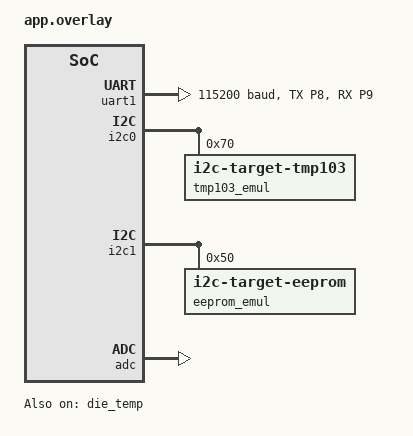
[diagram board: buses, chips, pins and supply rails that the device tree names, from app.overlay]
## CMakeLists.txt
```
# SPDX-License-Identifier: Apache-2.0

cmake_minimum_required(VERSION 3.20.0)

find_package(Zephyr REQUIRED HINTS $ENV{ZEPHYR_BASE})
project(coproc_spike)

target_sources(app PRIVATE src/main.c src/la_pio.c src/link.c)
```

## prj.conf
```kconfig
# DATA ×4 v2 co-processor spike (README.md): build only, no hardware yet

CONFIG_LOG=y
CONFIG_SHELL=y

# USB: 4 CDC-ACM (shell + 3 consoles) and the node's vendor bulk link
CONFIG_USB_DEVICE_STACK_NEXT=y
CONFIG_USBD_LOG_LEVEL_WRN=y
# The shell runs on a CDC-ACM port: its driver may not log to itself
CONFIG_USBD_CDC_ACM_LOG_LEVEL_OFF=y
CONFIG_UDC_BUF_POOL_SIZE=4096
CONFIG_SERIAL=y
CONFIG_UART_INTERRUPT_DRIVEN=y
CONFIG_UART_LINE_CTRL=y
CONFIG_UART_USE_RUNTIME_CONFIGURE=y

# Emulated I2C devices: the TMP103 and EEPROM targets turn on from the devicetree
CONFIG_I2C=y
CONFIG_I2C_TARGET=y
CONFIG_SENSOR=y
CONFIG_ADC=y
# The TMP103 target reads the die temperature sensor, which starts at 90:
# upstream's default (60) fails the init-order check (README.md)
CONFIG_I2C_TARGET_INIT_PRIORITY=91

# Capture: PIO + DMA
CONFIG_DMA=y
```

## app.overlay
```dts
/*
 * DATA ×4 v2 co-processor spike on a Pico 2 (README.md).  Pins follow the
 * v2 research: the eight buses are GPIO2-9 (CH1-8).
 *
 *   GPIO2-9   sampled by the PIO capture (all eight)
 *   GPIO4/5   I2C0 target: an emulated TMP103 at 0x70 (CH3/CH4)
 *   GPIO6/7   I2C1 target: an emulated 256-byte EEPROM at 0x50 (CH5/CH6)
 *   GPIO8/9   UART1, bridged to the "con1" CDC-ACM port (CH7/CH8)
 *
 * SPDX-License-Identifier: Apache-2.0
 */

/ {
	chosen {
		zephyr,shell-uart = &cdc_acm_shell;
	};

	/* A DUT console: UART1 <-> USB, line coding passed through */
	uart-bridge-con1 {
		compatible = "zephyr,uart-bridge";
		peers = <&cdc_acm_con1 &uart1>;
	};
};

&zephyr_udc0 {
	cdc_acm_shell: cdc_acm_shell {
		compatible = "zephyr,cdc-acm-uart";
		label = "coproc shell";
	};

	cdc_acm_con1: cdc_acm_con1 {
		compatible = "zephyr,cdc-acm-uart";
		label = "coproc con1";
	};

	/* con2/con3: for PIO UARTs, which have no interrupt API yet (README.md) */
	cdc_acm_con2: cdc_acm_con2 {
		compatible = "zephyr,cdc-acm-uart";
		label = "coproc con2";
	};

	cdc_acm_con3: cdc_acm_con3 {
		compatible = "zephyr,cdc-acm-uart";
		label = "coproc con3";
	};
};

&pinctrl {
	uart1_bus: uart1_bus {
		group1 {
			pinmux = <UART1_TX_P8>;
		};

		group2 {
			pinmux = <UART1_RX_P9>;
			input-enable;
		};
	};
};

&uart1 {
	current-speed = <115200>;
	pinctrl-0 = <&uart1_bus>;
	pinctrl-names = "default";
	status = "okay";
};

/* The board's defaults already put I2C0 on GPIO4/5 and I2C1 on GPIO6/7 */
&i2c0 {
	tmp103_emul: tmp103@70 {
		compatible = "zephyr,i2c-target-tmp103";
		reg = <0x70>;
		sensor = <&die_temp>;
	};
};

&i2c1 {
	eeprom_emul: eeprom@50 {
		compatible = "zephyr,i2c-target-eeprom";
		reg = <0x50>;
		size = <256>;
	};
};

&adc {
	status = "okay";
};

&die_temp {
	status = "okay";
};

/* Own labels: the pico-sdk headers define pio0 (and friends) as macros */
coproc_pio: &pio0 {
	status = "okay";
};

coproc_dma: &dma {
	status = "okay";
};
```

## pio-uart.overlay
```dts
/*
 * con2 on a PIO UART (TX GPIO2, RX GPIO3: CH1/CH2), bridged like con1.
 * Needs Zephyr PR #118562 (interrupt-driven PIO UART): without it the
 * driver only polls and the bridge never sees a byte (README.md).
 *
 *   west build ... -- -DEXTRA_DTC_OVERLAY_FILE=pio-uart.overlay
 *
 * SPDX-License-Identifier: Apache-2.0
 */

/ {
	uart-bridge-con2 {
		compatible = "zephyr,uart-bridge";
		peers = <&cdc_acm_con2 &pio1_uart0>;
	};
};

&pinctrl {
	pio1_uart0_bus: pio1_uart0_bus {
		rx_pins {
			pinmux = <PIO1_P3>;
			input-enable;
		};

		tx_pins {
			pinmux = <PIO1_P2>;
		};
	};
};

&pio1 {
	status = "okay";

	pio1_uart0: uart0 {
		compatible = "raspberrypi,pico-uart-pio";
		current-speed = <115200>;
		pinctrl-0 = <&pio1_uart0_bus>;
		pinctrl-names = "default";
		status = "okay";
	};
};
```

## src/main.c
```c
/*
 * DATA ×4 v2 co-processor spike (README.md): what Zephyr gives an RP2350
 * today for the co-processor's jobs, built for a Pico 2, not yet run.
 *
 *   USB      4 CDC-ACM (shell, con1 bridged to UART1, con2, con3) and the
 *            node's vendor bulk link (link.c)
 *   I2C      two emulated devices, devicetree only (app.overlay)
 *   capture  8 channels by PIO + DMA (la_pio.c), on the shell:
 *
 *   la cap <rate_hz> <samples> [<trigger pin> rise|fall [timeout_ms]]
 *   la dump [offset] [count]
 *
 * SPDX-License-Identifier: Apache-2.0
 */

#include <stdlib.h>
#include <string.h>

#include <zephyr/kernel.h>
#include <zephyr/logging/log.h>
#include <zephyr/shell/shell.h>
#include <zephyr/usb/usbd.h>

#include "la_pio.h"

LOG_MODULE_REGISTER(coproc, LOG_LEVEL_INF);

/* The first bus pin: CH1 = GPIO2 */
#define LA_FIRST_PIN 2

/* Zephyr's test VID/PID: a spike only */
USBD_DEVICE_DEFINE(coproc_usbd, DEVICE_DT_GET(DT_NODELABEL(zephyr_udc0)), 0x2fe3, 0x0005);
USBD_DESC_LANG_DEFINE(coproc_lang);
USBD_DESC_MANUFACTURER_DEFINE(coproc_mfr, "hw-testing-rack");
USBD_DESC_PRODUCT_DEFINE(coproc_product, "DATA x4 co-processor spike");
USBD_DESC_CONFIG_DEFINE(coproc_fs_cfg_desc, "FS Configuration");
USBD_CONFIGURATION_DEFINE(coproc_fs_config, 0, 100, &coproc_fs_cfg_desc);

static int coproc_usb_init(void)
{
	int err;

	err = usbd_add_descriptor(&coproc_usbd, &coproc_lang);
	err = err ?: usbd_add_descriptor(&coproc_usbd, &coproc_mfr);
	err = err ?: usbd_add_descriptor(&coproc_usbd, &coproc_product);
	err = err ?: usbd_add_configuration(&coproc_usbd, USBD_SPEED_FS, &coproc_fs_config);
	err = err ?: usbd_register_all_classes(&coproc_usbd, USBD_SPEED_FS, 1, NULL);
	if (err) {
		return err;
	}

	/* CDC-ACM uses interface association descriptors */
	usbd_device_set_code_triple(&coproc_usbd, USBD_SPEED_FS, USB_BCC_MISCELLANEOUS, 0x02, 0x01);

	err = usbd_init(&coproc_usbd);

	return err ?: usbd_enable(&coproc_usbd);
}

static int cmd_la_cap(const struct shell *sh, size_t argc, char **argv)
{
	struct la_params p = {
		.first_pin = LA_FIRST_PIN,
		.rate_hz = strtoul(argv[1], NULL, 0),
		.samples = strtoul(argv[2], NULL, 0),
		.trigger_pin = -1,
	};
	uint32_t trigger_ms = 5000;
	uint32_t rate;
	int64_t t0;
	int ret;

	if (argc >= 4) {
		p.trigger_pin = strtol(argv[3], NULL, 0);
		p.rising = argc < 5 || strcmp(argv[4], "fall") != 0;
	}
	if (argc >= 6) {
		trigger_ms = strtoul(argv[5], NULL, 0);
	}
	p.timeout = K_MSEC(trigger_ms + (uint64_t)p.samples * 1000U / MAX(p.rate_hz, 1U) + 10U);

	t0 = k_uptime_get();
	ret = la_capture(&p, &rate);
	if (ret < 0) {
		shell_error(sh, "capture failed: %d", ret);
		return ret;
	}
	shell_print(sh, "%u samples at %u Hz on GPIO%u-%u in %lld ms", p.samples, rate,
		    p.first_pin, p.first_pin + LA_CHANNELS - 1, k_uptime_get() - t0);

	return 0;
}

static int cmd_la_dump(const struct shell *sh, size_t argc, char **argv)
{
	const size_t offset = argc > 1 ? strtoul(argv[1], NULL, 0) : 0;
	size_t count = argc > 2 ? strtoul(argv[2], NULL, 0) : 64;

	if (offset >= sizeof(la_buf)) {
		return -EINVAL;
	}
	count = MIN(count, sizeof(la_buf) - offset);
	shell_hexdump(sh, &la_buf[offset], count);

	return 0;
}

SHELL_STATIC_SUBCMD_SET_CREATE(la_cmds,
	SHELL_CMD_ARG(cap, NULL, "<rate_hz> <samples> [<pin> rise|fall [timeout_ms]]",
		      cmd_la_cap, 3, 3),
	SHELL_CMD_ARG(dump, NULL, "[offset] [count]", cmd_la_dump, 1, 2),
	SHELL_SUBCMD_SET_END);
SHELL_CMD_REGISTER(la, &la_cmds, "PIO capture of CH1-8", NULL);

int main(void)
{
	int err = coproc_usb_init();

	if (err) {
		LOG_ERR("USB init failed: %d", err);
		return err;
	}
	LOG_INF("co-processor spike up");

	return 0;
}
```

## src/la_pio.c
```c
/*
 * Capture spike: eight consecutive pins sampled by one PIO state machine at
 * up to clk_sys (150 MS/s on an RP2350), moved to RAM by one DMA channel,
 * after an optional edge on one of them.
 *
 * The PIO program is three instructions, assembled at run time so that the
 * trigger pin and edge are patched in:
 *
 *	wait !edge pin T	; only with a trigger
 *	wait edge pin T
 *   .wrap_target
 *	in pins, 8		; autopush every 32 bits: 4 samples per word
 *   .wrap
 *
 * What a full analyzer adds (README.md): pre-trigger samples (a DMA ring and
 * a second state machine watching the trigger, which Zephyr's DMA driver
 * cannot do: one block, no ring, no chaining), pattern triggers, 16 channels
 * and run-length encoding.
 *
 * SPDX-License-Identifier: Apache-2.0
 */

#include <errno.h>

#include <zephyr/device.h>
#include <zephyr/drivers/dma.h>
#include <zephyr/drivers/misc/pio_rpi_pico/pio_rpi_pico.h>
#include <zephyr/dt-bindings/dma/rpi-pico-dma-common.h>
#include <zephyr/kernel.h>
#include <zephyr/logging/log.h>

#include <hardware/clocks.h>
#include <hardware/gpio.h>
#include <hardware/pio.h>
#include <hardware/pio_instructions.h>

#include "la_pio.h"

LOG_MODULE_REGISTER(la_pio, LOG_LEVEL_INF);

static const struct device *const pio_dev = DEVICE_DT_GET(DT_NODELABEL(coproc_pio));
static const struct device *const dma_dev = DEVICE_DT_GET(DT_NODELABEL(coproc_dma));

uint8_t la_buf[LA_BUF_SAMPLES] __aligned(4);

static K_SEM_DEFINE(la_done, 0, 1);
static int la_dma_status;
static size_t la_sm = SIZE_MAX;
static int la_dma_ch = -1;

static void la_dma_cb(const struct device *dev, void *user_data, uint32_t channel, int status)
{
	ARG_UNUSED(dev);
	ARG_UNUSED(user_data);
	ARG_UNUSED(channel);

	la_dma_status = status;
	k_sem_give(&la_done);
}

/*
 * PIO reads every pin's input whatever its function, so pins that already
 * belong to I2C or the UART are sampled as they are.  The others are made
 * inputs here (on the RP2350 this also lifts the pad isolation).
 */
static void la_prepare_pins(uint8_t first_pin)
{
	for (uint32_t pin = first_pin; pin < first_pin + LA_CHANNELS; pin++) {
		if (gpio_get_function(pin) == GPIO_FUNC_NULL) {
			gpio_init(pin);
		}
		gpio_set_input_enabled(pin, true);
	}
}

int la_capture(const struct la_params *p, uint32_t *rate_hz)
{
	PIO pio = pio_rpi_pico_get_pio(pio_dev);
	const uint32_t sys_hz = clock_get_hz(clk_sys);
	uint16_t insn[3];
	struct pio_program prog = {.instructions = insn, .origin = -1};
	uint32_t wrap_target = 0;
	uint32_t offset;
	pio_sm_config c;
	float div;
	int ret;

	if (p->samples == 0 || p->samples > LA_BUF_SAMPLES || (p->samples % 4) != 0) {
		return -EINVAL;
	}
	if (p->rate_hz == 0 || p->rate_hz > sys_hz || sys_hz / p->rate_hz > 65535) {
		return -EINVAL;
	}
	if (p->first_pin + LA_CHANNELS > 32) {
		return -EINVAL;
	}
	if (p->trigger_pin >= 0 && (p->trigger_pin < p->first_pin ||
				    p->trigger_pin >= p->first_pin + LA_CHANNELS)) {
		return -EINVAL;
	}

	if (la_sm == SIZE_MAX) {
		ret = pio_rpi_pico_allocate_sm(pio_dev, &la_sm);
		if (ret < 0) {
			return ret;
		}
	}
	if (la_dma_ch < 0) {
		la_dma_ch = dma_request_channel(dma_dev, NULL);
		if (la_dma_ch < 0) {
			return -EBUSY;
		}
	}

	if (p->trigger_pin >= 0) {
		const uint32_t idx = p->trigger_pin - p->first_pin; /* relative to IN_BASE */

		insn[0] = pio_encode_wait_pin(!p->rising, idx);
		insn[1] = pio_encode_wait_pin(p->rising, idx);
		wrap_target = 2;
	}
	insn[wrap_target] = pio_encode_in(pio_pins, LA_CHANNELS);
	prog.length = wrap_target + 1;

	if (!pio_can_add_program(pio, &prog)) {
		return -EBUSY;
	}
	offset = pio_add_program(pio, &prog);

	div = (float)sys_hz / (float)p->rate_hz;
	*rate_hz = (uint32_t)((float)sys_hz / div);

	la_prepare_pins(p->first_pin);

	c = pio_get_default_sm_config();
	sm_config_set_in_pins(&c, p->first_pin);
	sm_config_set_in_shift(&c, true, true, 32);
	sm_config_set_fifo_join(&c, PIO_FIFO_JOIN_RX);
	sm_config_set_clkdiv(&c, div);
	sm_config_set_wrap(&c, offset + wrap_target, offset + wrap_target);
	pio_sm_set_consecutive_pindirs(pio, la_sm, p->first_pin, LA_CHANNELS, false);
	pio_sm_init(pio, la_sm, offset, &c);

	struct dma_block_config blk = {
		.source_address = (uint32_t)&pio->rxf[la_sm],
		.source_addr_adj = DMA_ADDR_ADJ_NO_CHANGE,
		.dest_address = (uint32_t)la_buf,
		.dest_addr_adj = DMA_ADDR_ADJ_INCREMENT,
		.block_size = p->samples * LA_CHANNELS / 8,
	};
	struct dma_config cfg = {
		.channel_direction = PERIPHERAL_TO_MEMORY,
		.dma_slot = RPI_PICO_DMA_DREQ_TO_SLOT(pio_get_dreq(pio, la_sm, false)),
		.source_data_size = 4,
		.dest_data_size = 4,
		.source_burst_length = 1,
		.dest_burst_length = 1,
		.channel_priority = 1,
		.block_count = 1,
		.head_block = &blk,
		.dma_callback = la_dma_cb,
	};

	k_sem_reset(&la_done);
	ret = dma_config(dma_dev, la_dma_ch, &cfg);
	if (ret == 0) {
		ret = dma_start(dma_dev, la_dma_ch);
	}
	if (ret == 0) {
		pio_sm_set_enabled(pio, la_sm, true);
		if (k_sem_take(&la_done, p->timeout) != 0) {
			ret = -ETIMEDOUT;
		} else {
			ret = la_dma_status;
		}
	}

	pio_sm_set_enabled(pio, la_sm, false);
	dma_stop(dma_dev, la_dma_ch);
	pio_sm_clear_fifos(pio, la_sm);
	pio_remove_program(pio, &prog, offset);

	return ret;
}
```

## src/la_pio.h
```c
/*
 * SPDX-License-Identifier: Apache-2.0
 */

#ifndef LA_PIO_H_
#define LA_PIO_H_

#include <stdbool.h>
#include <stdint.h>

#include <zephyr/kernel.h>

/* Channels per sample: one byte, CH1-8 = first_pin .. first_pin + 7 */
#define LA_CHANNELS 8

/* Half of the Pico 2's 520 KB; the gusmanb firmware keeps 384 KB */
#define LA_BUF_SAMPLES (256U * 1024U)

struct la_params {
	uint8_t first_pin;
	uint32_t rate_hz;
	uint32_t samples;	/* a multiple of 4 (one 32-bit word per 4 samples) */
	int8_t trigger_pin;	/* -1: start at once */
	bool rising;
	k_timeout_t timeout;	/* for the trigger */
};

extern uint8_t la_buf[LA_BUF_SAMPLES];

/* Capture into la_buf; *rate_hz gets the rate the PIO divider really gives */
int la_capture(const struct la_params *p, uint32_t *rate_hz);

#endif /* LA_PIO_H_ */
```

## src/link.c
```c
/*
 * The node's link: one vendor-specific USB interface with a bulk OUT and a
 * bulk IN endpoint.  The node is the only client (README.md): it sends a
 * command, the co-processor answers on IN.  On the node's side this needs a
 * single host channel, only while a transfer is pending, where four CDC-ACM
 * ports opened by a host would keep eight busy.
 *
 * Spike protocol (little endian), one command per OUT transfer:
 *
 *	'V'				-> version string
 *	'R' u32 offset u32 length	-> length bytes of the capture buffer
 *
 * SPDX-License-Identifier: Apache-2.0
 */

#include <string.h>

#include <zephyr/drivers/usb/udc.h>
#include <zephyr/kernel.h>
#include <zephyr/logging/log.h>
#include <zephyr/sys/byteorder.h>
#include <zephyr/usb/usbd.h>
#include <zephyr/version.h>

#include "la_pio.h"

LOG_MODULE_REGISTER(link, LOG_LEVEL_INF);

#define LINK_MPS   64U
#define LINK_CHUNK 1024U

struct link_desc {
	struct usb_if_descriptor if0;
	struct usb_ep_descriptor out_ep;
	struct usb_ep_descriptor in_ep;
	struct usb_desc_header nil_desc;
};

/* Endpoint addresses and the interface number are placeholders: usbd assigns them */
static struct link_desc link_desc = {
	.if0 = {
		.bLength = sizeof(struct usb_if_descriptor),
		.bDescriptorType = USB_DESC_INTERFACE,
		.bNumEndpoints = 2,
		.bInterfaceClass = USB_BCC_VENDOR,
	},
	.out_ep = {
		.bLength = sizeof(struct usb_ep_descriptor),
		.bDescriptorType = USB_DESC_ENDPOINT,
		.bEndpointAddress = 0x01,
		.bmAttributes = USB_EP_TYPE_BULK,
		.wMaxPacketSize = sys_cpu_to_le16(LINK_MPS),
	},
	.in_ep = {
		.bLength = sizeof(struct usb_ep_descriptor),
		.bDescriptorType = USB_DESC_ENDPOINT,
		.bEndpointAddress = 0x81,
		.bmAttributes = USB_EP_TYPE_BULK,
		.wMaxPacketSize = sys_cpu_to_le16(LINK_MPS),
	},
};

static const struct usb_desc_header *const link_fs_desc[] = {
	(struct usb_desc_header *)&link_desc.if0,
	(struct usb_desc_header *)&link_desc.out_ep,
	(struct usb_desc_header *)&link_desc.in_ep,
	(struct usb_desc_header *)&link_desc.nil_desc,
};

static atomic_t link_enabled;
static uint8_t link_cmd[LINK_MPS];
static size_t link_cmd_len;
static K_SEM_DEFINE(link_cmd_sem, 0, 1);
static K_SEM_DEFINE(link_in_sem, 0, 1);

static int link_submit_out(struct usbd_class_data *const c_data)
{
	struct net_buf *buf;
	int err;

	buf = usbd_ep_buf_alloc(c_data, link_desc.out_ep.bEndpointAddress, LINK_MPS);
	if (buf == NULL) {
		return -ENOMEM;
	}

	err = usbd_ep_enqueue(c_data, buf);
	if (err) {
		usbd_ep_buf_free(usbd_class_get_ctx(c_data), buf);
	}

	return err;
}

static int link_request(struct usbd_class_data *const c_data, struct net_buf *buf, int err)
{
	const uint8_t ep = udc_get_buf_info(buf)->ep;

	if (ep == link_desc.out_ep.bEndpointAddress) {
		if (err == 0) {
			link_cmd_len = MIN(buf->len, sizeof(link_cmd));
			memcpy(link_cmd, buf->data, link_cmd_len);
			k_sem_give(&link_cmd_sem);
		}
	} else if (ep == link_desc.in_ep.bEndpointAddress) {
		k_sem_give(&link_in_sem);
	}

	return usbd_ep_buf_free(usbd_class_get_ctx(c_data), buf);
}

static void link_enable(struct usbd_class_data *const c_data)
{
	atomic_set(&link_enabled, 1);
	(void)link_submit_out(c_data);
}

static void link_disable(struct usbd_class_data *const c_data)
{
	ARG_UNUSED(c_data);

	atomic_set(&link_enabled, 0);
	k_sem_give(&link_in_sem);
}

static const void *link_get_desc(struct usbd_class_data *const c_data, const enum usbd_speed speed)
{
	ARG_UNUSED(c_data);
	ARG_UNUSED(speed);

	return link_fs_desc;
}

static int link_init(struct usbd_class_data *const c_data)
{
	ARG_UNUSED(c_data);

	return 0;
}

static const struct usbd_class_api link_api = {
	.request = link_request,
	.enable = link_enable,
	.disable = link_disable,
	.get_desc = link_get_desc,
	.init = link_init,
};

USBD_DEFINE_CLASS(hwtr_link, &link_api, NULL, NULL);

static int link_send(const void *data, size_t len)
{
	struct usbd_class_data *const c_data = &hwtr_link;
	const uint8_t *p = data;

	do {
		const size_t n = MIN(len, LINK_CHUNK);
		struct net_buf *buf;
		int err;

		if (!atomic_get(&link_enabled)) {
			return -ENODEV;
		}

		buf = usbd_ep_buf_alloc(c_data, link_desc.in_ep.bEndpointAddress, n);
		if (buf == NULL) {
			return -ENOMEM;
		}
		net_buf_add_mem(buf, p, n);
		/* A last chunk that fills whole packets ends with a zero-length one */
		if (n > 0 && n == len && (n % LINK_MPS) == 0) {
			udc_ep_buf_set_zlp(buf);
		}

		err = usbd_ep_enqueue(c_data, buf);
		if (err) {
			usbd_ep_buf_free(usbd_class_get_ctx(c_data), buf);
			return err;
		}
		k_sem_take(&link_in_sem, K_FOREVER);

		p += n;
		len -= n;
	} while (len > 0);

	return 0;
}

static void link_handle(const uint8_t *cmd, size_t len)
{
	if (len >= 1 && cmd[0] == 'V') {
		static const char version[] = "coproc-spike zephyr " KERNEL_VERSION_STRING;

		(void)link_send(version, sizeof(version) - 1);
	} else if (len >= 9 && cmd[0] == 'R') {
		const uint32_t offset = sys_get_le32(&cmd[1]);
		const uint32_t length = sys_get_le32(&cmd[5]);

		if (offset <= sizeof(la_buf) && length <= sizeof(la_buf) - offset) {
			(void)link_send(&la_buf[offset], length);
		} else {
			(void)link_send("", 0);
		}
	} else {
		LOG_WRN("unknown command (%zu bytes)", len);
	}
}

static void link_thread(void *a, void *b, void *c)
{
	ARG_UNUSED(a);
	ARG_UNUSED(b);
	ARG_UNUSED(c);

	while (true) {
		k_sem_take(&link_cmd_sem, K_FOREVER);
		link_handle(link_cmd, link_cmd_len);
		if (atomic_get(&link_enabled)) {
			(void)link_submit_out(&hwtr_link);
		}
	}
}

K_THREAD_DEFINE(link_tid, 1024, link_thread, NULL, NULL, NULL, 5, 0, 0);
```
